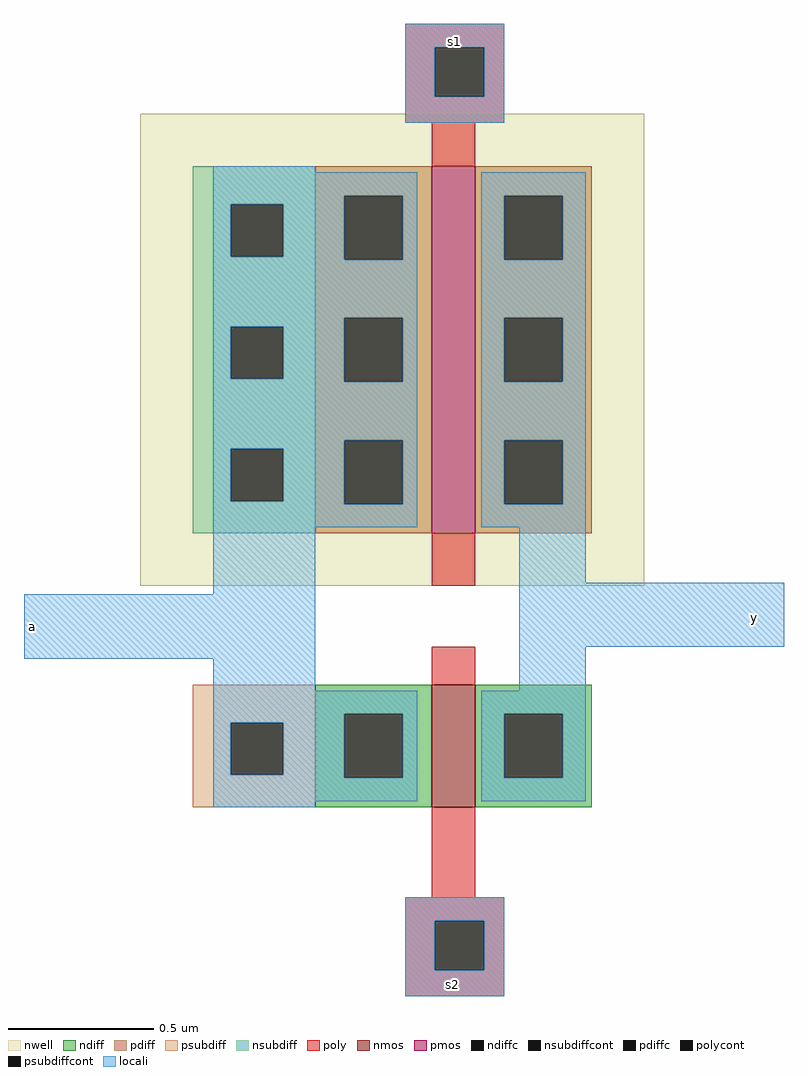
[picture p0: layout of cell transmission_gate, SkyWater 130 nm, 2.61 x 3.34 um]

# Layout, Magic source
magic
tech sky130A
<< nwell >>
rect -100 76 73 238
<< nmos >>
rect 0 0 15 42
<< pmos >>
rect 0 94 15 220
<< ndiff >>
rect -40 32 0 42
rect -40 10 -30 32
rect -10 10 0 32
rect -40 0 0 10
rect 15 32 55 42
rect 15 10 25 32
rect 45 10 55 32
rect 15 0 55 10
<< pdiff >>
rect -40 210 0 220
rect -40 188 -30 210
rect -10 188 0 210
rect -40 168 0 188
rect -40 146 -30 168
rect -10 146 0 168
rect -40 126 0 146
rect -40 104 -30 126
rect -10 104 0 126
rect -40 94 0 104
rect 15 210 55 220
rect 15 188 25 210
rect 45 188 55 210
rect 15 168 55 188
rect 15 146 25 168
rect 45 146 55 168
rect 15 126 55 146
rect 15 104 25 126
rect 45 104 55 126
rect 15 94 55 104
<< ndiffc >>
rect -30 10 -10 32
rect 25 10 45 32
<< pdiffc >>
rect -30 188 -10 210
rect -30 146 -10 168
rect -30 104 -10 126
rect 25 188 45 210
rect 25 146 45 168
rect 25 104 45 126
<< psubdiff >>
rect -82 29 -40 42
rect -82 11 -69 29
rect -51 11 -40 29
rect -82 0 -40 11
<< nsubdiff >>
rect -82 207 -40 220
rect -82 189 -69 207
rect -51 189 -40 207
rect -82 165 -40 189
rect -82 147 -69 165
rect -51 147 -40 165
rect -82 123 -40 147
rect -82 105 -69 123
rect -51 105 -40 123
rect -82 94 -40 105
<< psubdiffcont >>
rect -69 11 -51 29
<< nsubdiffcont >>
rect -69 189 -51 207
rect -69 147 -51 165
rect -69 105 -51 123
<< poly >>
rect -9 261 25 269
rect -9 244 1 261
rect 18 244 25 261
rect -9 235 25 244
rect 0 220 15 235
rect 0 76 15 94
rect 0 42 15 55
rect 0 -31 15 0
rect -9 -39 25 -31
rect -9 -56 1 -39
rect 18 -56 25 -39
rect -9 -65 25 -56
<< polycont >>
rect 1 244 18 261
rect 1 -56 18 -39
<< locali >>
rect -9 261 25 269
rect -9 244 1 261
rect 18 244 25 261
rect -9 235 25 244
rect -75 218 -40 220
rect -75 210 -5 218
rect -75 207 -30 210
rect -75 189 -69 207
rect -51 189 -30 207
rect -75 188 -30 189
rect -10 188 -5 210
rect -75 168 -5 188
rect -75 165 -30 168
rect -75 147 -69 165
rect -51 147 -30 165
rect -75 146 -30 147
rect -10 146 -5 168
rect -75 126 -5 146
rect -75 123 -30 126
rect -75 105 -69 123
rect -51 105 -30 123
rect -75 104 -30 105
rect -10 104 -5 126
rect -75 96 -5 104
rect 17 210 53 218
rect 17 188 25 210
rect 45 188 53 210
rect 17 168 53 188
rect 17 146 25 168
rect 45 146 53 168
rect 17 126 53 146
rect 17 104 25 126
rect 45 104 53 126
rect 17 96 53 104
rect -75 73 -40 96
rect -140 51 -40 73
rect -75 40 -40 51
rect 30 77 53 96
rect 30 55 121 77
rect 30 40 53 55
rect -75 32 -5 40
rect -75 29 -30 32
rect -75 11 -69 29
rect -51 11 -30 29
rect -75 10 -30 11
rect -10 10 -5 32
rect -75 2 -5 10
rect 17 32 53 40
rect 17 10 25 32
rect 45 10 53 32
rect 17 2 53 10
rect -75 0 -40 2
rect -9 -39 25 -31
rect -9 -56 1 -39
rect 18 -56 25 -39
rect -9 -65 25 -56
<< labels >>
rlabel locali -137 62 -137 62 3 a
port 1 e
rlabel locali 111 65 111 65 1 y
port 2 n
rlabel locali 8 263 8 263 1 s1
port 3 n
rlabel locali 7 -61 7 -61 1 s2
port 4 n
<< end >>
